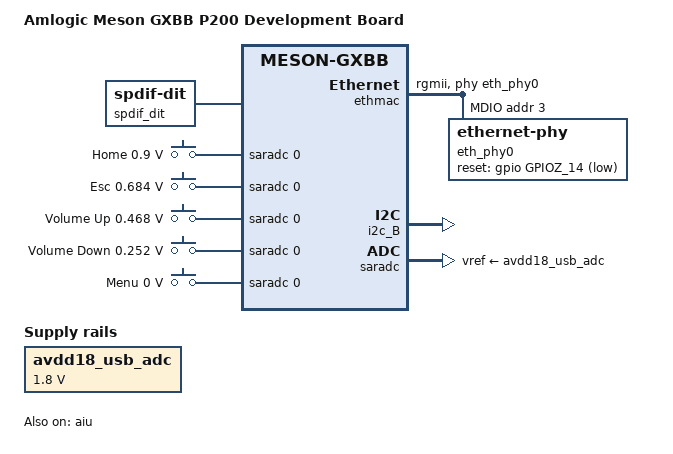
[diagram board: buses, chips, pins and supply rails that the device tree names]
// SPDX-License-Identifier: (GPL-2.0+ OR MIT)
/*
 * Copyright (c) 2016 Andreas Färber
 * Copyright (c) 2016 BayLibre, Inc.
 * Author: Kevin Hilman <khilman@kernel.org>
 */

/dts-v1/;

#include "meson-gxbb-p20x.dtsi"
#include <dt-bindings/input/input.h>
#include <dt-bindings/sound/meson-aiu.h>

/ {
	compatible = "amlogic,p200", "amlogic,meson-gxbb";
	model = "Amlogic Meson GXBB P200 Development Board";

	spdif_dit: audio-codec-0 {
		#sound-dai-cells = <0>;
		compatible = "linux,spdif-dit";
		sound-name-prefix = "DIT";
	};

	avdd18_usb_adc: regulator-avdd18-usb-adc {
		compatible = "regulator-fixed";
		regulator-name = "AVDD18_USB_ADC";
		regulator-min-microvolt = <1800000>;
		regulator-max-microvolt = <1800000>;
	};

	keys {
		compatible = "adc-keys";
		io-channels = <&saradc 0>;
		io-channel-names = "buttons";
		keyup-threshold-microvolt = <1800000>;

		button-home {
			label = "Home";
			linux,code = <KEY_HOME>;
			press-threshold-microvolt = <900000>; /* 50% */
		};

		button-esc {
			label = "Esc";
			linux,code = <KEY_ESC>;
			press-threshold-microvolt = <684000>; /* 38% */
		};

		button-up {
			label = "Volume Up";
			linux,code = <KEY_VOLUMEUP>;
			press-threshold-microvolt = <468000>; /* 26% */
		};

		button-down {
			label = "Volume Down";
			linux,code = <KEY_VOLUMEDOWN>;
			press-threshold-microvolt = <252000>; /* 14% */
		};

		button-menu {
			label = "Menu";
			linux,code = <KEY_MENU>;
			press-threshold-microvolt = <0>; /* 0% */
		};
	};

	sound {
		compatible = "amlogic,gx-sound-card";
		model = "P200";
		assigned-clocks = <&clkc CLKID_MPLL0>,
				  <&clkc CLKID_MPLL1>,
				  <&clkc CLKID_MPLL2>;
		assigned-clock-parents = <0>, <0>, <0>;
		assigned-clock-rates = <294912000>,
				       <270950400>,
				       <393216000>;

		dai-link-0 {
			sound-dai = <&aiu AIU_CPU CPU_I2S_FIFO>;
		};

		dai-link-1 {
			sound-dai = <&aiu AIU_CPU CPU_SPDIF_FIFO>;
		};

		dai-link-2 {
			sound-dai = <&aiu AIU_CPU CPU_I2S_ENCODER>;
			dai-format = "i2s";
			mclk-fs = <256>;

			codec-0 {
				sound-dai = <&aiu AIU_HDMI CTRL_I2S>;
			};
		};

		dai-link-3 {
			sound-dai = <&aiu AIU_CPU CPU_SPDIF_ENCODER>;

			codec-0 {
				sound-dai = <&spdif_dit>;
			};
		};

		dai-link-4 {
			sound-dai = <&aiu AIU_HDMI CTRL_OUT>;

			codec-0 {
				sound-dai = <&hdmi_tx>;
			};
		};
	};
};

&aiu {
	status = "okay";
	pinctrl-0 = <&spdif_out_y_pins>;
	pinctrl-names = "default";
};

&ethmac {
	status = "okay";
	pinctrl-0 = <&eth_rgmii_pins>;
	pinctrl-names = "default";
	phy-handle = <&eth_phy0>;
	phy-mode = "rgmii";

	amlogic,tx-delay-ns = <2>;

	mdio {
		compatible = "snps,dwmac-mdio";
		#address-cells = <1>;
		#size-cells = <0>;

		eth_phy0: ethernet-phy@3 {
			/* Micrel KSZ9031 (0x00221620) */
			reg = <3>;

			reset-assert-us = <10000>;
			reset-deassert-us = <30000>;
			reset-gpios = <&gpio GPIOZ_14 GPIO_ACTIVE_LOW>;

			interrupt-parent = <&gpio_intc>;
			/* MAC_INTR on GPIOZ_15 */
			interrupts = <29 IRQ_TYPE_LEVEL_LOW>;
		};
	};
};

&i2c_B {
	status = "okay";
	pinctrl-0 = <&i2c_b_pins>;
	pinctrl-names = "default";
};

&saradc {
	status = "okay";
	vref-supply = <&avdd18_usb_adc>;
};
